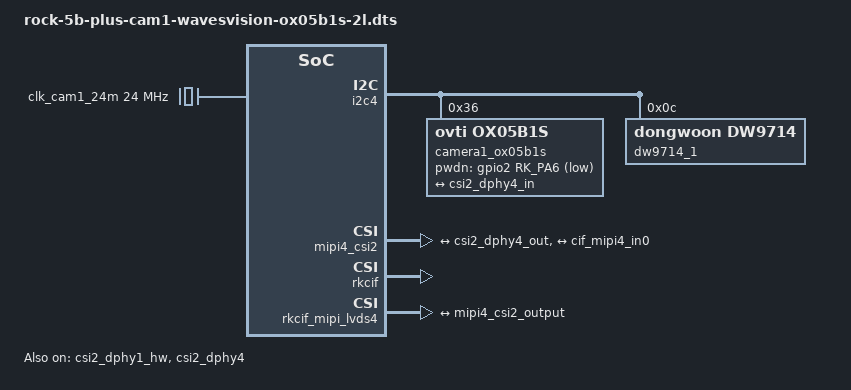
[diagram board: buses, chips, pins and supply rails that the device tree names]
/dts-v1/;
/plugin/;

#include <dt-bindings/gpio/gpio.h>
#include <dt-bindings/pinctrl/rockchip.h>

/ {
	metadata {
		title ="Enable WavesVision OX05B1S Camera on CAM1";
		compatible = "radxa,rock-5b-plus";
		category = "camera";
		exclusive = "csi2_dphy4";
		description = "Enable WavesVision OX05B1S Camera on CAM1.";
	};
};

&{/} {
	clk_cam1_24m: external-camera1-clock-24m {
		status = "okay";
		compatible = "fixed-clock";
		clock-frequency = <24000000>;
		clock-output-names = "clk_cam1_24m";
		#clock-cells = <0>;
	};
};

&i2c4 {
	pinctrl-names = "default";
	pinctrl-0 = <&i2c4m1_xfer>;
	status = "okay";
	#address-cells = <1>;
	#size-cells = <0>;

	camera1_ox05b1s: camera1-ox05b1s@36 {
		compatible = "ovti,ox05b1s";
		status = "okay";
		reg = <0x36>;

		clocks = <&clk_cam1_24m>;
		clock-names = "ext_cam1_clk";

		pwdn-gpios = <&gpio2 RK_PA6 GPIO_ACTIVE_LOW>;

		rockchip,camera-module-index = <1>;
		rockchip,camera-module-facing = "back";
		rockchip,camera-module-name = "WAVEVISION-OX05B1S";
		rockchip,camera-module-lens-name = "default";
		lens-focus = <&dw9714_1>;

		port {
			ox05b1s_out1: endpoint {
				remote-endpoint = <&csi2_dphy4_in>;
				data-lanes = <1 2>;
			};
		};
	};

	dw9714_1: dw9714-1@c {
		compatible = "dongwoon,dw9714";
		status = "okay";
		reg = <0x0c>;
		rockchip,camera-module-index = <0>;
		rockchip,vcm-start-current = <10>;
		rockchip,vcm-rated-current = <85>;
		rockchip,vcm-step-mode = <5>;
		rockchip,camera-module-facing = "back";
	};
};

&csi2_dphy1_hw {
	status = "okay";
};

&csi2_dphy4 {
	status = "okay";

	ports {
		#address-cells = <1>;
		#size-cells = <0>;

		port@0 {
			reg = <0>;
			#address-cells = <1>;
			#size-cells = <0>;

			csi2_dphy4_in: endpoint@2 {
				reg = <2>;
				remote-endpoint = <&ox05b1s_out1>;
				data-lanes = <1 2>;
			};
		};

		port@1 {
			reg = <1>;
			#address-cells = <1>;
			#size-cells = <0>;

			csi2_dphy4_out: endpoint@0 {
				reg = <0>;
				remote-endpoint = <&mipi4_csi2_input>;
			};
		};
	};
};

&mipi4_csi2 {
	status = "okay";

	ports {
		#address-cells = <1>;
		#size-cells = <0>;

		port@0 {
			reg = <0>;
			#address-cells = <1>;
			#size-cells = <0>;

			mipi4_csi2_input: endpoint@1 {
				reg = <1>;
				remote-endpoint = <&csi2_dphy4_out>;
			};
		};

		port@1 {
			reg = <1>;
			#address-cells = <1>;
			#size-cells = <0>;

			mipi4_csi2_output: endpoint@0 {
				reg = <0>;
				remote-endpoint = <&cif_mipi4_in0>;
			};
		};
	};
};

&rkcif {
	status = "okay";
};

&rkcif_mmu {
	status = "okay";
};

&rkcif_mipi_lvds4 {
	status = "okay";

	port {
		cif_mipi4_in0: endpoint {
			remote-endpoint = <&mipi4_csi2_output>;
		};
	};
};

&rkcif_mipi_lvds4_sditf {
	status = "disabled";

	port {
		mipi_lvds4_sditf: endpoint {
			remote-endpoint = <&isp1_vir1>;
		};
	};
};

&isp1_mmu {
	status = "disabled";
};

&rkisp1 {
	status = "disabled";
};

&rkisp1_vir1 {
	status = "disabled";

	port {
		#address-cells = <1>;
		#size-cells = <0>;

		isp1_vir1: endpoint@0 {
			reg = <0>;
			remote-endpoint = <&mipi_lvds4_sditf>;
		};
	};
};

&pinctrl {
	camera1 {
		cam1_pwdn_gpio: cam1-pwdn-gpio {
			rockchip,pins = <2 RK_PA6 RK_FUNC_GPIO &pcfg_pull_up>;
		};
	};
};

